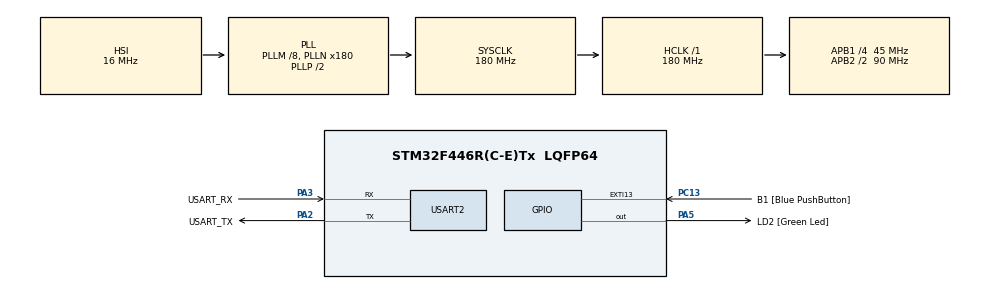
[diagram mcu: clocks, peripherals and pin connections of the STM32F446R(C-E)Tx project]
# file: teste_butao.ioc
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Mcu.Family=STM32F4
Mcu.Name=STM32F446R(C-E)Tx
Mcu.Package=LQFP64
NVIC.PriorityGroup=NVIC_PRIORITYGROUP_0
NVIC.USART2_IRQn=true\:0\:0\:false\:false\:true\:true\:true
PA13.GPIO_Label=TMS
PA13.Mode=Serial_Wire
PA13.Signal=SYS_JTMS-SWDIO
PA14.GPIO_Label=TCK
PA14.Mode=Serial_Wire
PA14.Signal=SYS_JTCK-SWCLK
PA2.GPIO_Label=USART_TX
PA2.Mode=Asynchronous
PA2.Signal=USART2_TX
PA3.GPIO_Label=USART_RX
PA3.Mode=Asynchronous
PA3.Signal=USART2_RX
PA5.GPIO_Label=LD2 [Green Led]
PA5.Signal=GPIO_Output
PB3.GPIO_Label=SWO
PB3.Signal=SYS_JTDO-SWO
PC13.GPIO_Label=B1 [Blue PushButton]
PC13.GPIO_ModeDefaultEXTI=GPIO_MODE_IT_FALLING
PC13.Signal=GPXTI13
PC14-OSC32_IN.Mode=LSE-External-Oscillator
PC14-OSC32_IN.Signal=RCC_OSC32_IN
PC15-OSC32_OUT.Mode=LSE-External-Oscillator
PC15-OSC32_OUT.Signal=RCC_OSC32_OUT
PH0-OSC_IN.Mode=HSE-External-Oscillator
PH0-OSC_IN.Signal=RCC_OSC_IN
PH1-OSC_OUT.Mode=HSE-External-Oscillator
PH1-OSC_OUT.Signal=RCC_OSC_OUT
ProjectManager.HeapSize=0x200
ProjectManager.StackSize=0x400
ProjectManager.TargetToolchain=MDK-ARM V5.32
RCC.48MHZClocksFreq_Value=84000000
RCC.AHBFreq_Value=180000000
RCC.APB1CLKDivider=RCC_HCLK_DIV4
RCC.APB1Freq_Value=45000000
RCC.APB1TimFreq_Value=90000000
RCC.APB2CLKDivider=RCC_HCLK_DIV2
RCC.APB2Freq_Value=90000000
RCC.APB2TimFreq_Value=180000000
RCC.CortexFreq_Value=180000000
RCC.FLatency-AdvancedSettings=FLASH_LATENCY_5
RCC.HCLKFreq_Value=180000000
RCC.HSE_VALUE=8000000
RCC.HSI_VALUE=16000000
RCC.PLLM=8
RCC.PLLN=180
RCC.SYSCLKFreq_VALUE=180000000
RCC.SYSCLKSource=RCC_SYSCLKSOURCE_PLLCLK
RCC.USBFreq_Value=180000000
RCC.VCOOutputFreq_Value=360000000
TIM2.Prescaler=0
USART2.VirtualMode=VM_ASYNC
VP_TIM2_VS_ClockSourceINT.Mode=Internal
board=NUCLEO-F446RE

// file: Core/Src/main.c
/* USER CODE BEGIN Header */
/**
  ******************************************************************************
  * @file           : main.c
  * @brief          : Main program body
  ******************************************************************************
  * @attention
  *
  * <h2><center>&copy; Copyright (c) 2022 STMicroelectronics.
  * All rights reserved.</center></h2>
  *
  * This software component is licensed by ST under BSD 3-Clause license,
  * the "License"; You may not use this file except in compliance with the
  * License. You may obtain a copy of the License at:
  *                        opensource.org/licenses/BSD-3-Clause
  *
  ******************************************************************************
  */
/* USER CODE END Header */
#include "main.h"
#include "tim.h"
#include "usart.h"
#include "gpio.h"

/* USER CODE BEGIN Includes */
#include "button.h"
/* USER CODE END Includes */

/* USER CODE BEGIN PV */

uint32_t a1 = 0,
				 b1 = 0,
				 c1 = 0;

uint32_t timer;

uint8_t RxData[256],
        RxDataidx,
        RxDataReady;

/* USER CODE END PV */

void SystemClock_Config(void);

int main(void)
{

  /* MCU Configuration--------------------------------------------------------*/

  /* Reset of all peripherals, Initializes the Flash interface and the Systick. */
  HAL_Init();

  /* Configure the system clock */
  SystemClock_Config();

  /* Initialize all configured peripherals */
  MX_GPIO_Init();
  MX_USART2_UART_Init();
  MX_TIM2_Init();
  /* USER CODE BEGIN 2 */

  LL_USART_EnableIT_RXNE(USART2);
  LL_USART_EnableIT_ERROR(USART2);
	LL_USART_EnableIT_IDLE(USART2);

	HAL_TIM_Base_Start(&htim2);
	__HAL_TIM_DISABLE(&htim2);

  InitButton(B1_GPIO_Port, GPIO_PIN_13);

  /* USER CODE END 2 */

  /* Infinite loop */
  /* USER CODE BEGIN WHILE */
  while (1)
  {
		if(But1.State == LONG_CLICK)
		{
			But1.State = NO_CLICK;
			a1++;
    }
    else if(But1.State == MEDIUM_CLICK)
    {
			But1.State = NO_CLICK;
      b1++;
    }
    else if(But1.State == SHORT_CLICK)
    {
			But1.State = NO_CLICK;
      c1++;
    }
    else
    {
      /*NO_CLICK (do nothing)*/
    }

		if ( (RxDataReady == 1) && (RxData[0] == 'R') )
		{
			a1=0;
			b1=0;
			c1=0;
		}

		if(timer > 249)
		{
			timer = 0;
			HAL_GPIO_TogglePin(LD2_GPIO_Port, LD2_Pin);
		}
    /* USER CODE END WHILE */

  }
}

void SystemClock_Config(void)
{
  RCC_OscInitTypeDef RCC_OscInitStruct = {0};
  RCC_ClkInitTypeDef RCC_ClkInitStruct = {0};

  /** Configure the main internal regulator output voltage
  */
  __HAL_RCC_PWR_CLK_ENABLE();
  __HAL_PWR_VOLTAGESCALING_CONFIG(PWR_REGULATOR_VOLTAGE_SCALE1);
  /** Initializes the RCC Oscillators according to the specified parameters
  * in the RCC_OscInitTypeDef structure.
  */
  RCC_OscInitStruct.OscillatorType = RCC_OSCILLATORTYPE_HSI;
  RCC_OscInitStruct.HSIState = RCC_HSI_ON;
  RCC_OscInitStruct.HSICalibrationValue = RCC_HSICALIBRATION_DEFAULT;
  RCC_OscInitStruct.PLL.PLLState = RCC_PLL_ON;
  RCC_OscInitStruct.PLL.PLLSource = RCC_PLLSOURCE_HSI;
  RCC_OscInitStruct.PLL.PLLM = 8;
  RCC_OscInitStruct.PLL.PLLN = 180;
  RCC_OscInitStruct.PLL.PLLP = RCC_PLLP_DIV2;
  RCC_OscInitStruct.PLL.PLLQ = 2;
  RCC_OscInitStruct.PLL.PLLR = 2;
  if (HAL_RCC_OscConfig(&RCC_OscInitStruct) != HAL_OK)
  {
    Error_Handler();
  }
  /** Activate the Over-Drive mode
  */
  if (HAL_PWREx_EnableOverDrive() != HAL_OK)
  {
    Error_Handler();
  }
  /** Initializes the CPU, AHB and APB buses clocks
  */
  RCC_ClkInitStruct.ClockType = RCC_CLOCKTYPE_HCLK|RCC_CLOCKTYPE_SYSCLK
                              |RCC_CLOCKTYPE_PCLK1|RCC_CLOCKTYPE_PCLK2;
  RCC_ClkInitStruct.SYSCLKSource = RCC_SYSCLKSOURCE_PLLCLK;
  RCC_ClkInitStruct.AHBCLKDivider = RCC_SYSCLK_DIV1;
  RCC_ClkInitStruct.APB1CLKDivider = RCC_HCLK_DIV4;
  RCC_ClkInitStruct.APB2CLKDivider = RCC_HCLK_DIV2;

  if (HAL_RCC_ClockConfig(&RCC_ClkInitStruct, FLASH_LATENCY_5) != HAL_OK)
  {
    Error_Handler();
  }
}

void Error_Handler(void)
{
  __disable_irq();
  while (1)
  {
  }
}

/************************ (C) COPYRIGHT STMicroelectronics *****END OF FILE****/
